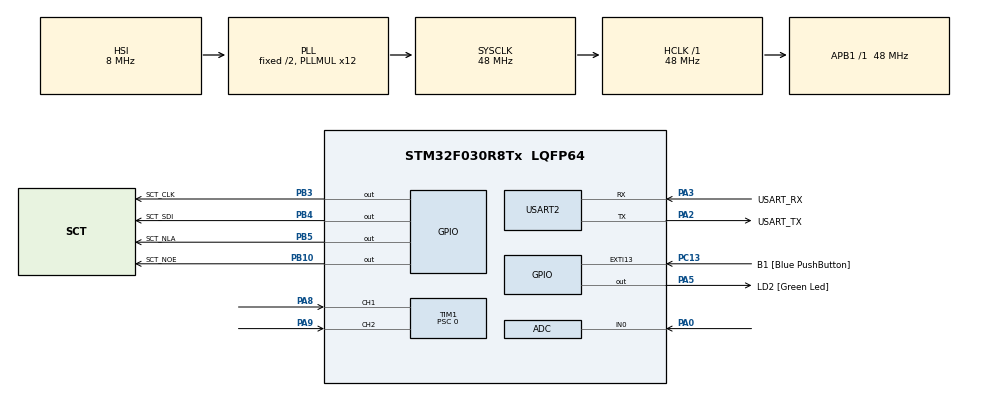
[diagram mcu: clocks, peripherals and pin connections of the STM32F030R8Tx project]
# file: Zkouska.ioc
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ADC.ContinuousConvMode=ENABLE
ADC.SamplingTime=ADC_SAMPLETIME_239CYCLES_5
Mcu.Family=STM32F0
Mcu.Name=STM32F030R8Tx
Mcu.Package=LQFP64
NVIC.ADC1_IRQn=true\:0\:0\:false\:false\:true\:true\:true\:true
PA0.Mode=IN0
PA0.Signal=ADC_IN0
PA13.GPIO_Label=TMS
PA13.Mode=Serial_Wire
PA13.Signal=SYS_SWDIO
PA14.GPIO_Label=TCK
PA14.Mode=Serial_Wire
PA14.Signal=SYS_SWCLK
PA2.GPIO_Label=USART_TX
PA2.GPIO_Mode=GPIO_MODE_AF_PP
PA2.GPIO_PuPd=GPIO_NOPULL
PA2.GPIO_Speed=GPIO_SPEED_FREQ_LOW
PA2.Mode=Asynchronous
PA2.Signal=USART2_TX
PA3.GPIO_Label=USART_RX
PA3.GPIO_Mode=GPIO_MODE_AF_PP
PA3.GPIO_PuPd=GPIO_NOPULL
PA3.GPIO_Speed=GPIO_SPEED_FREQ_LOW
PA3.Mode=Asynchronous
PA3.Signal=USART2_RX
PA5.GPIO_Label=LD2 [Green Led]
PA5.GPIO_Mode=GPIO_MODE_OUTPUT_PP
PA5.GPIO_PuPd=GPIO_NOPULL
PA5.GPIO_Speed=GPIO_SPEED_FREQ_LOW
PA5.Signal=GPIO_Output
PA8.Signal=S_TIM1_CH1
PA9.Signal=S_TIM1_CH2
PB10.GPIO_Label=SCT_NOE
PB10.Signal=GPIO_Output
PB3.GPIO_Label=SCT_CLK
PB3.Signal=GPIO_Output
PB4.GPIO_Label=SCT_SDI
PB4.Signal=GPIO_Output
PB5.GPIO_Label=SCT_NLA
PB5.Signal=GPIO_Output
PC13.GPIO_Label=B1 [Blue PushButton]
PC13.GPIO_ModeDefaultEXTI=GPIO_MODE_IT_FALLING
PC13.Signal=GPXTI13
PC14-OSC32_IN.Mode=LSE-External-Oscillator
PC14-OSC32_IN.Signal=RCC_OSC32_IN
PC15-OSC32_OUT.Mode=LSE-External-Oscillator
PC15-OSC32_OUT.Signal=RCC_OSC32_OUT
PF0-OSC_IN.Mode=HSE-External-Clock-Source
PF0-OSC_IN.Signal=RCC_OSC_IN
PF1-OSC_OUT.Signal=RCC_OSC_OUT
ProjectManager.HeapSize=0x200
ProjectManager.StackSize=0x400
ProjectManager.TargetToolchain=STM32CubeIDE
RCC.AHBFreq_Value=48000000
RCC.APB1Freq_Value=48000000
RCC.APB1TimFreq_Value=48000000
RCC.HCLKFreq_Value=48000000
RCC.PLLMUL=RCC_PLL_MUL12
RCC.SYSCLKFreq_VALUE=48000000
RCC.SYSCLKSource=RCC_SYSCLKSOURCE_PLLCLK
SH.S_TIM1_CH1.0=TIM1_CH1,Encoder_Interface
SH.S_TIM1_CH2.0=TIM1_CH2,Encoder_Interface
TIM1.IC1Polarity=TIM_ICPOLARITY_FALLING
TIM1.Period=480
TIM1.Prescaler=0
USART2.VirtualMode-Asynchronous=VM_ASYNC
board=NUCLEO-F030R8

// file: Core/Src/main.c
/* USER CODE BEGIN Header */
/**
 ******************************************************************************
 * @file           : main.c
 * @brief          : Main program body
 ******************************************************************************
 * @attention
 *
 * Copyright (c) 2024 STMicroelectronics.
 * All rights reserved.
 *
 * This software is licensed under terms that can be found in the LICENSE file
 * in the root directory of this software component.
 * If no LICENSE file comes with this software, it is provided AS-IS.
 *
 ******************************************************************************
 */
/* USER CODE END Header */
#include "main.h"

/* USER CODE BEGIN Includes */
#include <sct.h>
/* USER CODE END Includes */

/* USER CODE BEGIN PD */
#define START_TIME 20 // Starting speed
#define ADC_RANGE 4095
#define RANGE 480
#define ADC_Q 6
/* USER CODE END PD */

ADC_HandleTypeDef hadc;

TIM_HandleTypeDef htim1;

UART_HandleTypeDef huart2;

/* USER CODE BEGIN PV */
static volatile uint32_t raw_pot;

/* USER CODE END PV */

void SystemClock_Config(void);
static void MX_GPIO_Init(void);
static void MX_USART2_UART_Init(void);
static void MX_TIM1_Init(void);
static void MX_ADC_Init(void);

/* USER CODE BEGIN 0 */
void HAL_ADC_ConvCpltCallback(ADC_HandleTypeDef* hadc)
{

	static uint32_t avg_pot;

	raw_pot = avg_pot >> ADC_Q;
	avg_pot -= raw_pot;
	avg_pot += HAL_ADC_GetValue(hadc);

}
/* USER CODE END 0 */

int main(void)
{

  /* MCU Configuration--------------------------------------------------------*/

  /* Reset of all peripherals, Initializes the Flash interface and the Systick. */
  HAL_Init();

  /* Configure the system clock */
  SystemClock_Config();

  /* Initialize all configured peripherals */
  MX_GPIO_Init();
  MX_USART2_UART_Init();
  MX_TIM1_Init();
  MX_ADC_Init();
  /* USER CODE BEGIN 2 */
  HAL_ADCEx_Calibration_Start(&hadc);
  HAL_ADC_Start_IT(&hadc);
  HAL_TIM_Encoder_Start(&htim1, htim1.Channel);
  sct_init();
  /* USER CODE END 2 */

  /* Infinite loop */
  /* USER CODE BEGIN WHILE */
	while (1)
	{

		for (uint8_t j = 0; j < 19; j++) {
			uint16_t speed = START_TIME+(raw_pot*480)/ADC_RANGE;
			//uint16_t speed = __HAL_TIM_GET_COUNTER(&htim1)+START_TIME; // Gets the value from encoder and sets startup speed
			int i = (j < 10) ? j : 18 - j; // Calculates i based on the current iteration
			sct_value(speed, i);
			HAL_Delay(speed);
		}
    /* USER CODE END WHILE */

	}
}

void SystemClock_Config(void)
{
  RCC_OscInitTypeDef RCC_OscInitStruct = {0};
  RCC_ClkInitTypeDef RCC_ClkInitStruct = {0};

  /** Initializes the RCC Oscillators according to the specified parameters
  * in the RCC_OscInitTypeDef structure.
  */
  RCC_OscInitStruct.OscillatorType = RCC_OSCILLATORTYPE_HSI|RCC_OSCILLATORTYPE_HSI14;
  RCC_OscInitStruct.HSIState = RCC_HSI_ON;
  RCC_OscInitStruct.HSI14State = RCC_HSI14_ON;
  RCC_OscInitStruct.HSICalibrationValue = RCC_HSICALIBRATION_DEFAULT;
  RCC_OscInitStruct.HSI14CalibrationValue = 16;
  RCC_OscInitStruct.PLL.PLLState = RCC_PLL_ON;
  RCC_OscInitStruct.PLL.PLLSource = RCC_PLLSOURCE_HSI;
  RCC_OscInitStruct.PLL.PLLMUL = RCC_PLL_MUL12;
  RCC_OscInitStruct.PLL.PREDIV = RCC_PREDIV_DIV1;
  if (HAL_RCC_OscConfig(&RCC_OscInitStruct) != HAL_OK)
  {
    Error_Handler();
  }

  /** Initializes the CPU, AHB and APB buses clocks
  */
  RCC_ClkInitStruct.ClockType = RCC_CLOCKTYPE_HCLK|RCC_CLOCKTYPE_SYSCLK
                              |RCC_CLOCKTYPE_PCLK1;
  RCC_ClkInitStruct.SYSCLKSource = RCC_SYSCLKSOURCE_PLLCLK;
  RCC_ClkInitStruct.AHBCLKDivider = RCC_SYSCLK_DIV1;
  RCC_ClkInitStruct.APB1CLKDivider = RCC_HCLK_DIV1;

  if (HAL_RCC_ClockConfig(&RCC_ClkInitStruct, FLASH_LATENCY_1) != HAL_OK)
  {
    Error_Handler();
  }
}

static void MX_ADC_Init(void)
{

  ADC_ChannelConfTypeDef sConfig = {0};

  /** Configure the global features of the ADC (Clock, Resolution, Data Alignment and number of conversion)
  */
  hadc.Instance = ADC1;
  hadc.Init.ClockPrescaler = ADC_CLOCK_ASYNC_DIV1;
  hadc.Init.Resolution = ADC_RESOLUTION_12B;
  hadc.Init.DataAlign = ADC_DATAALIGN_RIGHT;
  hadc.Init.ScanConvMode = ADC_SCAN_DIRECTION_FORWARD;
  hadc.Init.EOCSelection = ADC_EOC_SINGLE_CONV;
  hadc.Init.LowPowerAutoWait = DISABLE;
  hadc.Init.LowPowerAutoPowerOff = DISABLE;
  hadc.Init.ContinuousConvMode = ENABLE;
  hadc.Init.DiscontinuousConvMode = DISABLE;
  hadc.Init.ExternalTrigConv = ADC_SOFTWARE_START;
  hadc.Init.ExternalTrigConvEdge = ADC_EXTERNALTRIGCONVEDGE_NONE;
  hadc.Init.DMAContinuousRequests = DISABLE;
  hadc.Init.Overrun = ADC_OVR_DATA_PRESERVED;
  if (HAL_ADC_Init(&hadc) != HAL_OK)
  {
    Error_Handler();
  }

  /** Configure for the selected ADC regular channel to be converted.
  */
  sConfig.Channel = ADC_CHANNEL_0;
  sConfig.Rank = ADC_RANK_CHANNEL_NUMBER;
  sConfig.SamplingTime = ADC_SAMPLETIME_239CYCLES_5;
  if (HAL_ADC_ConfigChannel(&hadc, &sConfig) != HAL_OK)
  {
    Error_Handler();
  }

}

static void MX_TIM1_Init(void)
{

  TIM_Encoder_InitTypeDef sConfig = {0};
  TIM_MasterConfigTypeDef sMasterConfig = {0};

  htim1.Instance = TIM1;
  htim1.Init.Prescaler = 0;
  htim1.Init.CounterMode = TIM_COUNTERMODE_UP;
  htim1.Init.Period = 480;
  htim1.Init.ClockDivision = TIM_CLOCKDIVISION_DIV1;
  htim1.Init.RepetitionCounter = 0;
  htim1.Init.AutoReloadPreload = TIM_AUTORELOAD_PRELOAD_DISABLE;
  sConfig.EncoderMode = TIM_ENCODERMODE_TI1;
  sConfig.IC1Polarity = TIM_ICPOLARITY_FALLING;
  sConfig.IC1Selection = TIM_ICSELECTION_DIRECTTI;
  sConfig.IC1Prescaler = TIM_ICPSC_DIV1;
  sConfig.IC1Filter = 0;
  sConfig.IC2Polarity = TIM_ICPOLARITY_RISING;
  sConfig.IC2Selection = TIM_ICSELECTION_DIRECTTI;
  sConfig.IC2Prescaler = TIM_ICPSC_DIV1;
  sConfig.IC2Filter = 0;
  if (HAL_TIM_Encoder_Init(&htim1, &sConfig) != HAL_OK)
  {
    Error_Handler();
  }
  sMasterConfig.MasterOutputTrigger = TIM_TRGO_RESET;
  sMasterConfig.MasterSlaveMode = TIM_MASTERSLAVEMODE_DISABLE;
  if (HAL_TIMEx_MasterConfigSynchronization(&htim1, &sMasterConfig) != HAL_OK)
  {
    Error_Handler();
  }

}

static void MX_USART2_UART_Init(void)
{

  huart2.Instance = USART2;
  huart2.Init.BaudRate = 38400;
  huart2.Init.WordLength = UART_WORDLENGTH_8B;
  huart2.Init.StopBits = UART_STOPBITS_1;
  huart2.Init.Parity = UART_PARITY_NONE;
  huart2.Init.Mode = UART_MODE_TX_RX;
  huart2.Init.HwFlowCtl = UART_HWCONTROL_NONE;
  huart2.Init.OverSampling = UART_OVERSAMPLING_16;
  huart2.Init.OneBitSampling = UART_ONE_BIT_SAMPLE_DISABLE;
  huart2.AdvancedInit.AdvFeatureInit = UART_ADVFEATURE_NO_INIT;
  if (HAL_UART_Init(&huart2) != HAL_OK)
  {
    Error_Handler();
  }

}

static void MX_GPIO_Init(void)
{
  GPIO_InitTypeDef GPIO_InitStruct = {0};

  /* GPIO Ports Clock Enable */
  __HAL_RCC_GPIOC_CLK_ENABLE();
  __HAL_RCC_GPIOF_CLK_ENABLE();
  __HAL_RCC_GPIOA_CLK_ENABLE();
  __HAL_RCC_GPIOB_CLK_ENABLE();

  /*Configure GPIO pin Output Level */
  HAL_GPIO_WritePin(LD2_GPIO_Port, LD2_Pin, GPIO_PIN_RESET);

  /*Configure GPIO pin Output Level */
  HAL_GPIO_WritePin(GPIOB, SCT_NOE_Pin|SCT_CLK_Pin|SCT_SDI_Pin|SCT_NLA_Pin, GPIO_PIN_RESET);

  /*Configure GPIO pin : B1_Pin */
  GPIO_InitStruct.Pin = B1_Pin;
  GPIO_InitStruct.Mode = GPIO_MODE_IT_FALLING;
  GPIO_InitStruct.Pull = GPIO_NOPULL;
  HAL_GPIO_Init(B1_GPIO_Port, &GPIO_InitStruct);

  /*Configure GPIO pin : LD2_Pin */
  GPIO_InitStruct.Pin = LD2_Pin;
  GPIO_InitStruct.Mode = GPIO_MODE_OUTPUT_PP;
  GPIO_InitStruct.Pull = GPIO_NOPULL;
  GPIO_InitStruct.Speed = GPIO_SPEED_FREQ_LOW;
  HAL_GPIO_Init(LD2_GPIO_Port, &GPIO_InitStruct);

  /*Configure GPIO pins : SCT_NOE_Pin SCT_CLK_Pin SCT_SDI_Pin SCT_NLA_Pin */
  GPIO_InitStruct.Pin = SCT_NOE_Pin|SCT_CLK_Pin|SCT_SDI_Pin|SCT_NLA_Pin;
  GPIO_InitStruct.Mode = GPIO_MODE_OUTPUT_PP;
  GPIO_InitStruct.Pull = GPIO_NOPULL;
  GPIO_InitStruct.Speed = GPIO_SPEED_FREQ_LOW;
  HAL_GPIO_Init(GPIOB, &GPIO_InitStruct);

}

void Error_Handler(void)
{
	__disable_irq();
	while (1)
	{
	}
}
